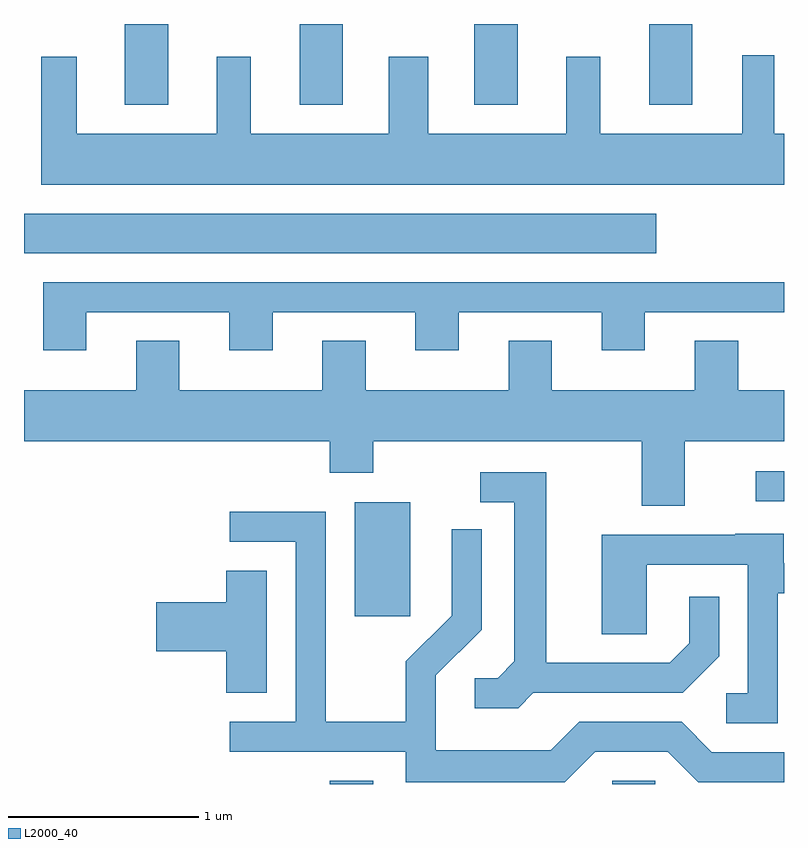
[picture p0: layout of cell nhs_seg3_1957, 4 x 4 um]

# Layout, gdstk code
import gdstk
lib = gdstk.Library(unit=1e-6, precision=1e-09)
def R(c, l, rs):  # rectangles x0, y0, x1, y1
    for r in rs: c.add(gdstk.rectangle(r[:2], r[2:], *l))
def A(c, l, x, y, w, h, nx, ny, dx, dy):  # array of equal rectangles
    R(c, l, [(x+i*dx, y+j*dy, x+i*dx+w, y+j*dy+h) for i in range(nx) for j in range(ny)])
def P(c, l, *ps):  # polygons
    for p in ps: c.add(gdstk.Polygon(p, *l))
L2000_40 = (2000, 40)

nhs_seg3_1957 = lib.new_cell('nhs_seg3_1957')
A(nhs_seg3_1957, L2000_40, 242.141, 1225.466, 0.228, 0.426, 4, 1, 0.92, 0)
R(nhs_seg3_1957, L2000_40, [(243.221,1221.892,243.449,1221.909), (244.706,1221.892,244.934,1221.909), (243.351,1222.776,243.644,1223.374), (245.463,1223.381,245.611,1223.539), (241.611,1224.686,244.939,1224.894)])
P(nhs_seg3_1957, L2000_40, [(245.611,1225.314),(245.559,1225.314),(245.559,1225.728),(245.391,1225.728),(245.391,1225.314),(244.644,1225.314),(244.644,1225.719),(244.466,1225.719),(244.466,1225.314),(243.739,1225.314),(243.739,1225.719),(243.531,1225.719),(243.531,1225.314),(242.804,1225.314),(242.804,1225.719),(242.626,1225.719),(242.626,1225.314),(241.889,1225.314),(241.889,1225.719),(241.701,1225.719),(241.701,1225.046),(245.611,1225.046)],
  [(241.939,1224.376),(242.691,1224.376),(242.691,1224.176),(242.919,1224.176),(242.919,1224.376),(243.671,1224.376),(243.671,1224.176),(243.899,1224.176),(243.899,1224.376),(244.651,1224.376),(244.651,1224.176),(244.879,1224.176),(244.879,1224.376),(245.611,1224.376),(245.611,1224.534),(241.711,1224.534),(241.711,1224.176),(241.939,1224.176)],
  [(245.089,1223.696),(245.611,1223.696),(245.611,1223.964),(245.369,1223.964),(245.369,1224.224),(245.141,1224.224),(245.141,1223.964),(244.389,1223.964),(244.389,1224.224),(244.161,1224.224),(244.161,1223.964),(243.409,1223.964),(243.409,1224.224),(243.181,1224.224),(243.181,1223.964),(242.429,1223.964),(242.429,1224.224),(242.201,1224.224),(242.201,1223.964),(241.611,1223.964),(241.611,1223.696),(243.221,1223.696),(243.221,1223.531),(243.449,1223.531),(243.449,1223.696),(244.861,1223.696),(244.861,1223.356),(245.089,1223.356)],
  [(244.292,1222.371),(245.077,1222.371),(245.269,1222.564),(245.269,1222.878),(245.111,1222.878),(245.111,1222.632),(245.009,1222.529),(244.359,1222.529),(244.359,1223.534),(244.013,1223.534),(244.013,1223.376),(244.191,1223.376),(244.191,1222.537),(244.104,1222.449),(243.983,1222.449),(243.983,1222.291),(244.212,1222.291)],
  [(244.617,1222.061),(244.999,1222.061),(245.159,1221.901),(245.611,1221.901),(245.611,1222.059),(245.232,1222.059),(245.072,1222.219),(244.534,1222.219),(244.384,1222.069),(243.779,1222.069),(243.779,1222.464),(244.019,1222.704),(244.019,1223.233),(243.861,1223.233),(243.861,1222.777),(243.621,1222.537),(243.621,1222.219),(243.199,1222.219),(243.199,1223.324),(242.693,1223.324),(242.693,1223.166),(243.041,1223.166),(243.041,1222.219),(242.693,1222.219),(242.693,1222.061),(243.621,1222.061),(243.621,1221.901),(244.457,1221.901)],
  [(245.579,1222.896),(245.611,1222.896),(245.611,1223.054),(245.609,1223.054),(245.609,1223.209),(245.355,1223.209),(245.355,1223.204),(244.651,1223.204),(244.651,1222.681),(244.889,1222.681),(244.889,1223.046),(245.421,1223.046),(245.421,1222.369),(245.308,1222.369),(245.308,1222.211),(245.579,1222.211)],
  [(242.889,1223.014),(242.676,1223.014),(242.676,1222.849),(242.306,1222.849),(242.306,1222.591),(242.676,1222.591),(242.676,1222.371),(242.889,1222.371)])

lib.write_gds('nhs_seg3_1957.gds')
